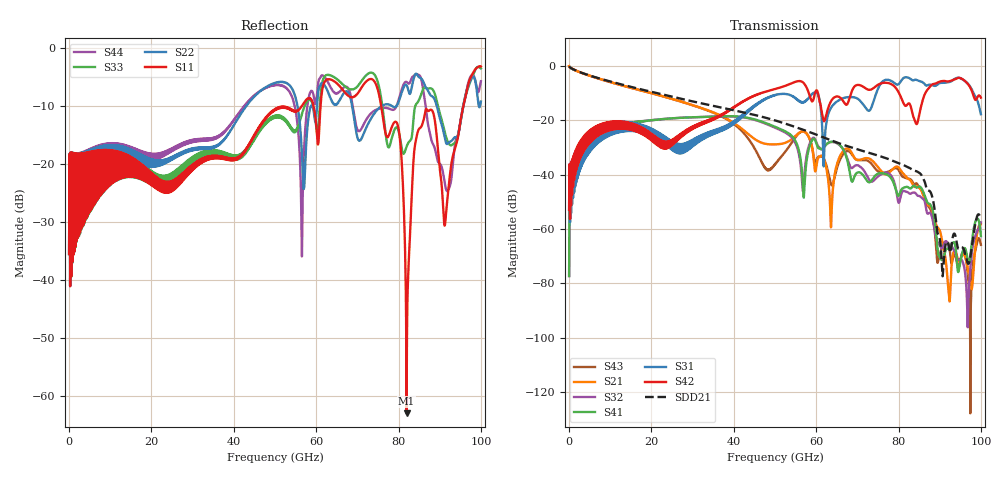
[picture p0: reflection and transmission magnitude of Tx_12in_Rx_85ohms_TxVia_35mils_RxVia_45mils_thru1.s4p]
! Info: Touchstone file created by Circ.  Input file=Tx_12in_Rx_85ohms_TxVia_35mils_RxVia_45mils.circ
# Hz S RI R 50
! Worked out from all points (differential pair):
!   10000 points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, 10 MHz to 100 GHz, reference 50 ohm
!   strongest paths, dB at 10 MHz, 25.01 GHz, 50.01 GHz, 75.01 GHz, 100 GHz:
!     S42: -53.0, -27.2, -8.5, -7.0, -11.7
!     S31: -53.0, -28.4, -10.8, -8.5, -17.8
!     S41: -77.3, -19.3, -22.4, -39.6, -62.6
!     S32: -77.3, -19.3, -22.7, -40.7, -57.5
!     S21: -0.1, -12.1, -28.9, -37.2, -58.2
!     S43: -0.1, -12.2, -36.3, -38.8, -65.8
!   taken as a pair (ports 1,3 in; 2,4 out), SDD21 dB: -0.1, -11.4, -20.1, -33.0, -56.3
!   lowest |S11| = -63.0 dB at 81.95 GHz (marker M1), VSWR 1.00, Z = 50.1 - j0.0274 ohm
!   |S11| at or under -10 dB: start of sweep to 56.55 GHz; 59.32 GHz to 61.08 GHz (1.757 GHz wide, 2.92 % of centre); 75.78 GHz to 95.76 GHz (19.98 GHz wide, 23.3 % of centre)
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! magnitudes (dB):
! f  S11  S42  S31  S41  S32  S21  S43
! 10 MHz  -35.5  -53.0  -53.0  -77.3  -77.3  -0.1  -0.1
! 2.39 GHz  -30.8  -28.5  -28.9  -30.6  -30.6  -2.2  -2.2
! 13.54 GHz  -19.9  -21.4  -21.7  -21.3  -21.3  -7.5  -7.5
! 73.59 GHz  -5.4  -8.5  -14.6  -41.9  -42.6  -34.8  -36.3
! 81.95 GHz  -63.0  -14.6  -4.2  -44.5  -46.3  -41.0  -41.3
! 92.24 GHz  -23.5  -5.7  -6.0  -66.8  -66.4  -84.3  -65.9
! 100 GHz  -3.2  -11.7  -17.8  -62.6  -57.5  -58.2  -65.8
